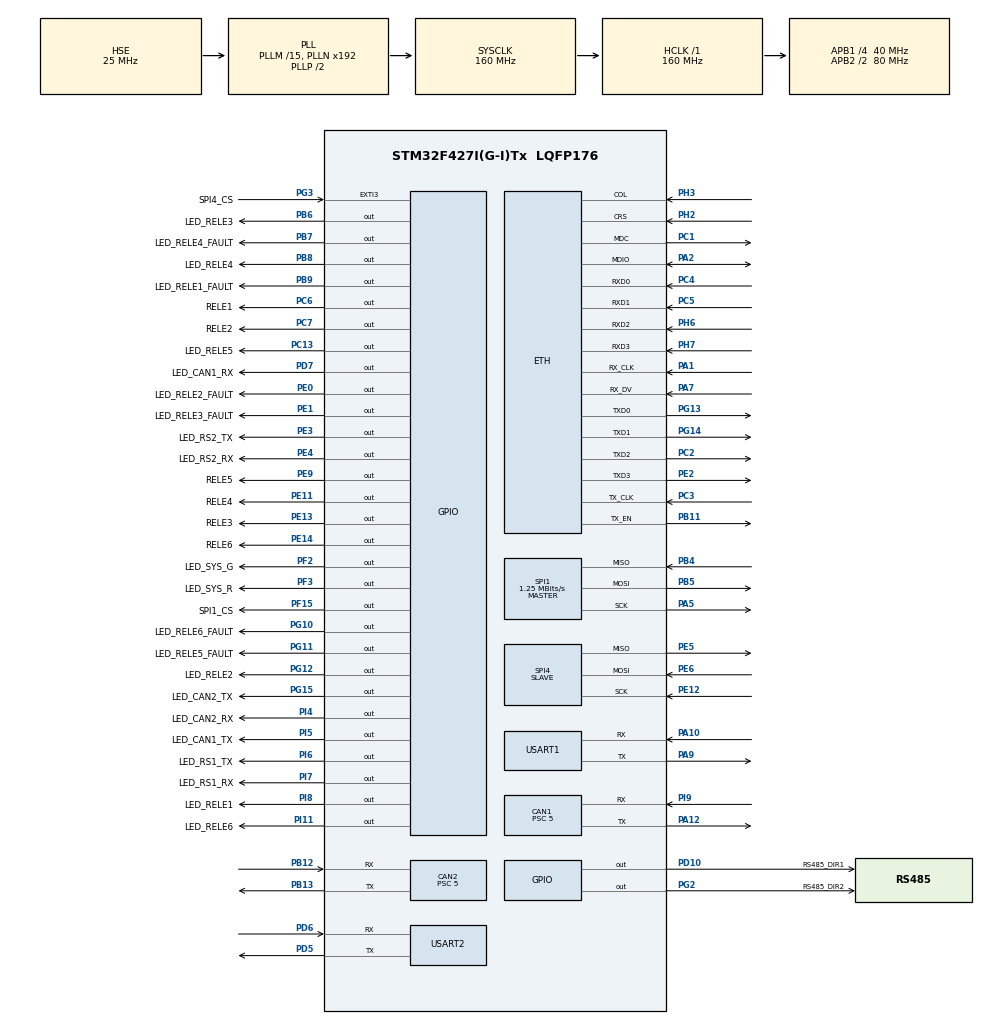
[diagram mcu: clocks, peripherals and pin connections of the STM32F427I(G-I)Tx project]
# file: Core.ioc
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CAN1.BS1=CAN_BS1_13TQ
CAN1.BS2=CAN_BS2_2TQ
CAN1.CalculateTimeQuantum=125.0
CAN1.Prescaler=5
CAN1.TXFP=ENABLE
CAN2.BS1=CAN_BS1_13TQ
CAN2.BS2=CAN_BS2_2TQ
CAN2.CalculateTimeQuantum=125.0
CAN2.Prescaler=5
CAN2.TXFP=ENABLE
Dma.Request0=USART1_TX
Dma.Request1=USART2_TX
Dma.Request2=SPI1_TX
Dma.Request3=SPI1_RX
Dma.SPI1_RX.3.Direction=DMA_PERIPH_TO_MEMORY
Dma.SPI1_RX.3.FIFOMode=DMA_FIFOMODE_DISABLE
Dma.SPI1_RX.3.Instance=DMA2_Stream0
Dma.SPI1_RX.3.MemDataAlignment=DMA_MDATAALIGN_BYTE
Dma.SPI1_RX.3.MemInc=DMA_MINC_ENABLE
Dma.SPI1_RX.3.Mode=DMA_NORMAL
Dma.SPI1_RX.3.PeriphDataAlignment=DMA_PDATAALIGN_BYTE
Dma.SPI1_RX.3.PeriphInc=DMA_PINC_DISABLE
Dma.SPI1_RX.3.Priority=DMA_PRIORITY_MEDIUM
Dma.SPI1_TX.2.Direction=DMA_MEMORY_TO_PERIPH
Dma.SPI1_TX.2.FIFOMode=DMA_FIFOMODE_DISABLE
Dma.SPI1_TX.2.Instance=DMA2_Stream3
Dma.SPI1_TX.2.MemDataAlignment=DMA_MDATAALIGN_BYTE
Dma.SPI1_TX.2.MemInc=DMA_MINC_ENABLE
Dma.SPI1_TX.2.Mode=DMA_NORMAL
Dma.SPI1_TX.2.PeriphDataAlignment=DMA_PDATAALIGN_BYTE
Dma.SPI1_TX.2.PeriphInc=DMA_PINC_DISABLE
Dma.SPI1_TX.2.Priority=DMA_PRIORITY_MEDIUM
Dma.USART1_TX.0.Direction=DMA_MEMORY_TO_PERIPH
Dma.USART1_TX.0.FIFOMode=DMA_FIFOMODE_DISABLE
Dma.USART1_TX.0.Instance=DMA2_Stream7
Dma.USART1_TX.0.MemDataAlignment=DMA_MDATAALIGN_BYTE
Dma.USART1_TX.0.MemInc=DMA_MINC_ENABLE
Dma.USART1_TX.0.Mode=DMA_NORMAL
Dma.USART1_TX.0.PeriphDataAlignment=DMA_PDATAALIGN_BYTE
Dma.USART1_TX.0.PeriphInc=DMA_PINC_DISABLE
Dma.USART1_TX.0.Priority=DMA_PRIORITY_MEDIUM
Dma.USART2_TX.1.Direction=DMA_MEMORY_TO_PERIPH
Dma.USART2_TX.1.FIFOMode=DMA_FIFOMODE_DISABLE
Dma.USART2_TX.1.Instance=DMA1_Stream6
Dma.USART2_TX.1.MemDataAlignment=DMA_MDATAALIGN_BYTE
Dma.USART2_TX.1.MemInc=DMA_MINC_ENABLE
Dma.USART2_TX.1.Mode=DMA_NORMAL
Dma.USART2_TX.1.PeriphDataAlignment=DMA_PDATAALIGN_BYTE
Dma.USART2_TX.1.PeriphInc=DMA_PINC_DISABLE
Dma.USART2_TX.1.Priority=DMA_PRIORITY_MEDIUM
ETH.MediaInterface=ETH_MEDIA_INTERFACE_MII
FREERTOS.Tasks01=defaultTask,0,128,StartDefaultTask,Default,NULL,Dynamic,NULL,NULL;progTask,-1,128,ProgTask,Default,NULL,Dynamic,NULL,NULL
FREERTOS.configTOTAL_HEAP_SIZE=32000
IWDG.Prescaler=IWDG_PRESCALER_64
LWIP.GATEWAY_ADDRESS=192.168.005.001
LWIP.IP_ADDRESS=192.168.005.002
LWIP.LWIP_DHCP=0
LWIP.NETMASK_ADDRESS=255.255.255.000
LWIP.Version=v2.1.2_Cube
Mcu.Family=STM32F4
Mcu.Name=STM32F427I(G-I)Tx
Mcu.Package=LQFP176
NVIC.CAN1_RX0_IRQn=true\:5\:0\:false\:false\:true\:true\:true\:true
NVIC.CAN2_RX0_IRQn=true\:5\:0\:false\:false\:true\:true\:true\:true
NVIC.DMA1_Stream6_IRQn=true\:5\:0\:false\:false\:true\:true\:false\:true
NVIC.DMA2_Stream0_IRQn=true\:5\:0\:false\:false\:true\:true\:false\:true
NVIC.DMA2_Stream3_IRQn=true\:5\:0\:false\:false\:true\:true\:false\:true
NVIC.DMA2_Stream7_IRQn=true\:5\:0\:false\:false\:true\:true\:false\:true
NVIC.ETH_IRQn=true\:5\:0\:false\:false\:true\:true\:false\:true
NVIC.EXTI3_IRQn=true\:0\:0\:false\:false\:true\:false\:true\:true
NVIC.PriorityGroup=NVIC_PRIORITYGROUP_4
NVIC.SPI4_IRQn=true\:0\:0\:false\:false\:true\:true\:true\:true
NVIC.TIM1_UP_TIM10_IRQn=true\:0\:0\:false\:false\:true\:false\:false\:true
NVIC.TimeBase=TIM1_UP_TIM10_IRQn
NVIC.TimeBaseIP=TIM1
NVIC.USART1_IRQn=true\:5\:0\:false\:false\:true\:true\:true\:true
NVIC.USART2_IRQn=true\:5\:0\:false\:false\:true\:true\:true\:true
PA1.Mode=MII
PA1.Signal=ETH_RX_CLK
PA10.Mode=Asynchronous
PA10.Signal=USART1_RX
PA12.Mode=Master
PA12.Signal=CAN1_TX
PA2.Mode=MII
PA2.Signal=ETH_MDIO
PA5.Mode=Full_Duplex_Master
PA5.Signal=SPI1_SCK
PA7.Mode=MII
PA7.Signal=ETH_RX_DV
PA9.Mode=Asynchronous
PA9.Signal=USART1_TX
PB11.Mode=MII
PB11.Signal=ETH_TX_EN
PB12.Mode=Slave
PB12.Signal=CAN2_RX
PB13.Mode=Slave
PB13.Signal=CAN2_TX
PB4.Mode=Full_Duplex_Master
PB4.Signal=SPI1_MISO
PB5.Mode=Full_Duplex_Master
PB5.Signal=SPI1_MOSI
PB6.GPIO_Label=LED_RELE3
PB6.Signal=GPIO_Output
PB7.GPIO_Label=LED_RELE4_FAULT
PB7.Signal=GPIO_Output
PB8.GPIO_Label=LED_RELE4
PB8.Signal=GPIO_Output
PB9.GPIO_Label=LED_RELE1_FAULT
PB9.Signal=GPIO_Output
PC1.Mode=MII
PC1.Signal=ETH_MDC
PC13.GPIO_Label=LED_RELE5
PC13.Signal=GPIO_Output
PC14/OSC32_IN.Mode=LSE-External-Oscillator
PC14/OSC32_IN.Signal=RCC_OSC32_IN
PC15/OSC32_OUT.Mode=LSE-External-Oscillator
PC15/OSC32_OUT.Signal=RCC_OSC32_OUT
PC2.Mode=MII
PC2.Signal=ETH_TXD2
PC3.Mode=MII
PC3.Signal=ETH_TX_CLK
PC4.Mode=MII
PC4.Signal=ETH_RXD0
PC5.Mode=MII
PC5.Signal=ETH_RXD1
PC6.GPIO_Label=RELE1
PC6.Signal=GPIO_Output
PC7.GPIO_Label=RELE2
PC7.Signal=GPIO_Output
PD10.GPIO_Label=RS485_DIR1
PD10.Signal=GPIO_Output
PD5.Mode=Asynchronous
PD5.Signal=USART2_TX
PD6.Mode=Asynchronous
PD6.Signal=USART2_RX
PD7.GPIO_Label=LED_CAN1_RX
PD7.Signal=GPIO_Output
PE0.GPIO_Label=LED_RELE2_FAULT
PE0.Signal=GPIO_Output
PE1.GPIO_Label=LED_RELE3_FAULT
PE1.Signal=GPIO_Output
PE11.GPIO_Label=RELE4
PE11.Signal=GPIO_Output
PE12.Mode=Full_Duplex_Slave
PE12.Signal=SPI4_SCK
PE13.GPIO_Label=RELE3
PE13.Signal=GPIO_Output
PE14.GPIO_Label=RELE6
PE14.Signal=GPIO_Output
PE2.Mode=MII
PE2.Signal=ETH_TXD3
PE3.GPIO_Label=LED_RS2_TX
PE3.Signal=GPIO_Output
PE4.GPIO_Label=LED_RS2_RX
PE4.Signal=GPIO_Output
PE5.Mode=Full_Duplex_Slave
PE5.Signal=SPI4_MISO
PE6.Mode=Full_Duplex_Slave
PE6.Signal=SPI4_MOSI
PE9.GPIO_Label=RELE5
PE9.Signal=GPIO_Output
PF15.GPIO_Label=SPI1_CS
PF15.Signal=GPIO_Output
PF2.GPIO_Label=LED_SYS_G
PF2.Signal=GPIO_Output
PF3.GPIO_Label=LED_SYS_R
PF3.Signal=GPIO_Output
PG10.GPIO_Label=LED_RELE6_FAULT
PG10.Signal=GPIO_Output
PG11.GPIO_Label=LED_RELE5_FAULT
PG11.Signal=GPIO_Output
PG12.GPIO_Label=LED_RELE2
PG12.Signal=GPIO_Output
PG13.Mode=MII
PG13.Signal=ETH_TXD0
PG14.Mode=MII
PG14.Signal=ETH_TXD1
PG15.GPIO_Label=LED_CAN2_TX
PG15.Signal=GPIO_Output
PG2.GPIO_Label=RS485_DIR2
PG2.Signal=GPIO_Output
PG3.GPIO_Label=SPI4_CS
PG3.GPIO_ModeDefaultEXTI=GPIO_MODE_IT_RISING_FALLING
PG3.GPIO_PuPd=GPIO_PULLUP
PG3.Signal=GPXTI3
PH0/OSC_IN.Mode=HSE-External-Oscillator
PH0/OSC_IN.Signal=RCC_OSC_IN
PH1/OSC_OUT.Mode=HSE-External-Oscillator
PH1/OSC_OUT.Signal=RCC_OSC_OUT
PH2.Mode=MII
PH2.Signal=ETH_CRS
PH3.Mode=MII
PH3.Signal=ETH_COL
PH6.Mode=MII
PH6.Signal=ETH_RXD2
PH7.Mode=MII
PH7.Signal=ETH_RXD3
PI11.GPIO_Label=LED_RELE6
PI11.Signal=GPIO_Output
PI4.GPIO_Label=LED_CAN2_RX
PI4.Signal=GPIO_Output
PI5.GPIO_Label=LED_CAN1_TX
PI5.Signal=GPIO_Output
PI6.GPIO_Label=LED_RS1_TX
PI6.Signal=GPIO_Output
PI7.GPIO_Label=LED_RS1_RX
PI7.Signal=GPIO_Output
PI8.GPIO_Label=LED_RELE1
PI8.Signal=GPIO_Output
PI9.Mode=Master
PI9.Signal=CAN1_RX
ProjectManager.HeapSize=0x2000
ProjectManager.StackSize=0x4000
ProjectManager.TargetToolchain=TrueSTUDIO
RCC.48MHZClocksFreq_Value=80000000
RCC.AHBFreq_Value=160000000
RCC.APB1CLKDivider=RCC_HCLK_DIV4
RCC.APB1Freq_Value=40000000
RCC.APB1TimFreq_Value=80000000
RCC.APB2CLKDivider=RCC_HCLK_DIV2
RCC.APB2Freq_Value=80000000
RCC.APB2TimFreq_Value=160000000
RCC.CortexFreq_Value=160000000
RCC.HCLKFreq_Value=160000000
RCC.HSE_VALUE=25000000
RCC.HSI_VALUE=16000000
RCC.PLLM=15
RCC.PLLSourceVirtual=RCC_PLLSOURCE_HSE
RCC.RCC_RTC_Clock_Source=RCC_RTCCLKSOURCE_LSE
RCC.RCC_RTC_Clock_SourceVirtual=RCC_RTCCLKSOURCE_LSE
RCC.SYSCLKFreq_VALUE=160000000
RCC.SYSCLKSource=RCC_SYSCLKSOURCE_PLLCLK
RCC.VCOOutputFreq_Value=320000000
SPI1.BaudRatePrescaler=SPI_BAUDRATEPRESCALER_64
SPI1.CalculateBaudRate=1.25 MBits/s
SPI1.Direction=SPI_DIRECTION_2LINES
SPI1.Mode=SPI_MODE_MASTER
SPI1.VirtualType=VM_MASTER
SPI4.CLKPhase=SPI_PHASE_2EDGE
SPI4.CLKPolarity=SPI_POLARITY_HIGH
SPI4.Direction=SPI_DIRECTION_2LINES
SPI4.Mode=SPI_MODE_SLAVE
SPI4.VirtualType=VM_SLAVE
USART1.Parity=PARITY_EVEN
USART1.VirtualMode=VM_ASYNC
USART1.WordLength=WORDLENGTH_9B
USART2.Parity=PARITY_EVEN
USART2.VirtualMode=VM_ASYNC
USART2.WordLength=WORDLENGTH_9B
VP_FREERTOS_VS_CMSIS_V1.Mode=CMSIS_V1
VP_IWDG_VS_IWDG.Mode=IWDG_Activate
VP_LWIP_VS_Enabled.Mode=Enabled
VP_RTC_VS_RTC_Activate.Mode=RTC_Enabled
VP_SYS_VS_tim1.Mode=TIM1
board=custom

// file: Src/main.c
/* USER CODE BEGIN Header */
/**
  ******************************************************************************
  * @file           : main.c
  * @brief          : Main program body
  ******************************************************************************
  * @attention
  *
  * <h2><center>&copy; Copyright (c) 2019 STMicroelectronics.
  * All rights reserved.</center></h2>
  *
  * This software component is licensed by ST under Ultimate Liberty license
  * SLA0044, the "License"; You may not use this file except in compliance with
  * the License. You may obtain a copy of the License at:
  *                             www.st.com/SLA0044
  *
  ******************************************************************************
  */
/* USER CODE END Header */
#include "main.h"
#include "cmsis_os.h"
#include "can.h"
#include "dma.h"
#include "iwdg.h"
#include "lwip.h"
#include "rtc.h"
#include "spi.h"
#include "usart.h"
#include "gpio.h"

/* USER CODE BEGIN Includes */

#include "os_conf.h"
#include "eeprom.h"
#include "can_tx_stack.h"
#include "can_task.h"

/* USER CODE END Includes */

/* USER CODE BEGIN PD */

#define	EEPROM_KEY_VALUE	0x3235
#define	CONFIG_KEY_VALUE	0x1215

#define JD0 2451545 // ���� �� 01 ��� 2000 ��

/* USER CODE END PD */

/* USER CODE BEGIN PV */

extern uint16_t rx1_cnt;
extern uint16_t rx1_tmr;
extern uint8_t dir1_tmr;

extern uint16_t rx2_cnt;
extern uint16_t rx2_tmr;
extern uint8_t dir2_tmr;

extern unsigned short tmrms[TMRMS_CNT];
extern unsigned short tmrs[TMRS_CNT];
unsigned short sys_tmr=0;

uint16_t VirtAddVarTab[NB_OF_VAR]={1,2,3,4,5,6,7,8,9,10,11,12,13,14,15,16};
static uint16_t ee_key = 0;

extern uint8_t net_address;
uint8_t ip_addr[4] = {192,168,1,2};
uint8_t ip_mask[4] = {255,255,255,0};
uint8_t ip_gate[4] = {192,168,1,1};
uint16_t rs485_conf1 = 0x1002;
uint16_t rs485_conf2 = 0x1002;

uint8_t baudrate1=2;
uint8_t stop_bits1=1;
uint8_t parity1=0;
uint8_t baud_dir1 = 3;

uint8_t baudrate2=2;
uint8_t stop_bits2=1;
uint8_t parity2=0;
uint8_t baud_dir2 = 3;

extern uint16_t ai_type;
tx_stack can1_tx_stack;
tx_stack can2_tx_stack;

extern volatile uint8_t can1_tx_tmr;

RTC_TimeTypeDef sTime = {0};
RTC_DateTypeDef sDate = {0};

typedef struct{
	unsigned short year;
	unsigned char month;
	unsigned char day;
	unsigned char hour;
	unsigned char minute;
	unsigned char second;
} ftime_t;

static ftime_t sdt1;

/* USER CODE END PV */

void SystemClock_Config(void);
void MX_FREERTOS_Init(void);

/* USER CODE BEGIN 0 */

void updateCurrentTime(unsigned long counter) {

	uint32_t ace;
	uint8_t b;
	uint8_t d;
	uint8_t m;

	ace=(counter/86400)+32044+JD0;
	b=(4*ace+3)/146097;
	ace=ace-((146097*b)/4);
	d=(4*ace+3)/1461;
	ace=ace-((1461*d)/4);
	m=(5*ace+2)/153;

	portDISABLE_INTERRUPTS();

	sdt1.day=ace-((153*m+2)/5)+1;
	sdt1.month=m+3-(12*(m/10));
	sdt1.year=100*b+d-4800+(m/10);
	sdt1.hour=(counter/3600)%24;
	sdt1.minute=(counter/60)%60;
	sdt1.second=(counter%60);

	sTime.Seconds = sdt1.second;
	sTime.Minutes = sdt1.minute;
	sTime.Hours = sdt1.hour;
	sDate.Date = sdt1.day;
	sDate.Month = sdt1.month;
	if(sdt1.year>=2000) sDate.Year = sdt1.year - 2000;else sDate.Year = 0;
	HAL_RTC_SetTime(&hrtc, &sTime, RTC_FORMAT_BIN);
	HAL_RTC_SetDate(&hrtc, &sDate, RTC_FORMAT_BIN);

	portENABLE_INTERRUPTS();
}

/* USER CODE END 0 */

int main(void)
{

  /* MCU Configuration--------------------------------------------------------*/

  /* Reset of all peripherals, Initializes the Flash interface and the Systick. */
  HAL_Init();

  /* Configure the system clock */
  SystemClock_Config();

  /* USER CODE BEGIN SysInit */

  HAL_FLASH_Unlock();
  EE_Init();

  EE_ReadVariable(VirtAddVarTab[0],  &ee_key);
  if(ee_key==EEPROM_KEY_VALUE) {
	  EE_ReadVariable(VirtAddVarTab[1],  &ee_key);
	  if(ee_key!=2) EE_WriteVariable(VirtAddVarTab[1],2);
  }
  EE_ReadVariable(VirtAddVarTab[15],  &ee_key);
  if(ee_key!=CONFIG_KEY_VALUE) {
	  EE_WriteVariable(VirtAddVarTab[0],EEPROM_KEY_VALUE);
	  EE_WriteVariable(VirtAddVarTab[2],1);			// net address
	  EE_WriteVariable(VirtAddVarTab[3],0xC0A8);	// IP address
	  EE_WriteVariable(VirtAddVarTab[4],0x0102);
	  EE_WriteVariable(VirtAddVarTab[5],0xFFFF);	// IP mask
	  EE_WriteVariable(VirtAddVarTab[6],0xFF00);
	  EE_WriteVariable(VirtAddVarTab[7],0xC0A8);	// IP gate
	  EE_WriteVariable(VirtAddVarTab[8],0x0101);
	  EE_WriteVariable(VirtAddVarTab[9],0xFFFF);	// ai_type
	  EE_WriteVariable(VirtAddVarTab[10],0x1002);	// rs485_conf1
	  EE_WriteVariable(VirtAddVarTab[11],0x1002);	// rs485_conf2
	  EE_WriteVariable(VirtAddVarTab[15],CONFIG_KEY_VALUE);
  }

  EE_ReadVariable(VirtAddVarTab[2],  &ee_key);
  net_address = ee_key&0xFF;
  EE_ReadVariable(VirtAddVarTab[3],  &ee_key);
  ip_addr[0] = ee_key>>8;
  ip_addr[1] = ee_key&0xFF;
  EE_ReadVariable(VirtAddVarTab[4],  &ee_key);
  ip_addr[2] = ee_key>>8;
  ip_addr[3] = ee_key&0xFF;
  EE_ReadVariable(VirtAddVarTab[5],  &ee_key);
  ip_mask[0] = ee_key>>8;
  ip_mask[1] = ee_key&0xFF;
  EE_ReadVariable(VirtAddVarTab[6],  &ee_key);
  ip_mask[2] = ee_key>>8;
  ip_mask[3] = ee_key&0xFF;
  EE_ReadVariable(VirtAddVarTab[7],  &ee_key);
  ip_gate[0] = ee_key>>8;
  ip_gate[1] = ee_key&0xFF;
  EE_ReadVariable(VirtAddVarTab[8],  &ee_key);
  ip_gate[2] = ee_key>>8;
  ip_gate[3] = ee_key&0xFF;
  EE_ReadVariable(VirtAddVarTab[9],  &ai_type);
  EE_ReadVariable(VirtAddVarTab[10],  &rs485_conf1);
  EE_ReadVariable(VirtAddVarTab[11],  &rs485_conf2);

  baudrate1 = rs485_conf1 & 0xFF;
  baudrate2 = rs485_conf2 & 0xFF;
  parity1 = rs485_conf1 >> 12;
  parity2 = rs485_conf2 >> 12;
  stop_bits1 = (rs485_conf1 >> 8) & 0x0F;
  stop_bits2 = (rs485_conf2 >> 8) & 0x0F;

  switch(baudrate1) {
	case 0:baud_dir1 = 10;break;
	case 1:baud_dir1 = 6;break;
	case 2:baud_dir1 = 3;break;
	case 3:baud_dir1 = 2;break;
	case 4:baud_dir1 = 2;break;
	case 5:baud_dir1 = 2;break;
	case 6:baud_dir1 = 2;break;
  }

  switch(baudrate2) {
  	case 0:baud_dir2 = 10;break;
  	case 1:baud_dir2 = 6;break;
  	case 2:baud_dir2 = 3;break;
  	case 3:baud_dir2 = 2;break;
  	case 4:baud_dir2 = 2;break;
  	case 5:baud_dir2 = 2;break;
  	case 6:baud_dir2 = 2;break;
  }

  /* USER CODE END SysInit */

  /* Initialize all configured peripherals */
  MX_GPIO_Init();
  MX_USART1_UART_Init();
  MX_USART2_UART_Init();
  MX_DMA_Init();
  //MX_IWDG_Init();
  MX_RTC_Init();
  MX_SPI1_Init();
  MX_CAN1_Init();
  MX_CAN2_Init();
  MX_SPI4_Init();
  /* USER CODE BEGIN 2 */

  LL_DMA_EnableIT_TC(DMA1, LL_DMA_STREAM_6);
  LL_DMA_EnableIT_TE(DMA1, LL_DMA_STREAM_6);
  LL_USART_EnableIT_RXNE(USART2);
  LL_DMA_EnableIT_TC(DMA2, LL_DMA_STREAM_7);
  LL_DMA_EnableIT_TE(DMA2, LL_DMA_STREAM_7);
  LL_USART_EnableIT_RXNE(USART1);

  LL_USART_Enable(USART1);
  LL_USART_Enable(USART2);

  LL_SPI_Enable(SPI4);
  LL_SPI_EnableIT_RXNE(SPI4);
  LL_SPI_EnableIT_TXE(SPI4);

  HAL_RTC_GetTime(&hrtc, &sTime, RTC_FORMAT_BIN);
  HAL_RTC_GetDate(&hrtc, &sDate, RTC_FORMAT_BIN);

  HAL_PWR_EnableBkUpAccess();
  __BKPSRAM_CLK_ENABLE();
  HAL_PWR_EnableBkUpReg();

  volatile uint16_t errorindex = 0;

  volatile uint32_t sram_buf[512]={0};

  // Write to Backup SRAM with 32-Bit Data
	/*for (uint16_t i = 0; i < 256; i += 4) {
		*(__IO uint32_t *) (BKPSRAM_BASE + i) = i;
	}*/

	// Check the written Data
	for (uint16_t i = 0; i < 256; i += 4) {
		sram_buf[i] = *(__IO uint32_t *) (BKPSRAM_BASE + i);
		if (sram_buf[i] != i){
			errorindex++;
		}
	}

	init_can_tx_stack(&can1_tx_stack);

  /* USER CODE END 2 */

  /* Call init function for freertos objects (in freertos.c) */
  MX_FREERTOS_Init();
  /* Start scheduler */
  osKernelStart();

  /* We should never get here as control is now taken by the scheduler */
  /* Infinite loop */
  while (1)
  {

  }
}

void SystemClock_Config(void)
{
  RCC_OscInitTypeDef RCC_OscInitStruct = {0};
  RCC_ClkInitTypeDef RCC_ClkInitStruct = {0};
  RCC_PeriphCLKInitTypeDef PeriphClkInitStruct = {0};

  /** Configure the main internal regulator output voltage
  */
  __HAL_RCC_PWR_CLK_ENABLE();
  __HAL_PWR_VOLTAGESCALING_CONFIG(PWR_REGULATOR_VOLTAGE_SCALE1);
  /** Initializes the RCC Oscillators according to the specified parameters
  * in the RCC_OscInitTypeDef structure.
  */
  RCC_OscInitStruct.OscillatorType = RCC_OSCILLATORTYPE_LSI|RCC_OSCILLATORTYPE_HSE
                              |RCC_OSCILLATORTYPE_LSE;
  RCC_OscInitStruct.HSEState = RCC_HSE_ON;
  RCC_OscInitStruct.LSEState = RCC_LSE_ON;
  RCC_OscInitStruct.LSIState = RCC_LSI_ON;
  RCC_OscInitStruct.PLL.PLLState = RCC_PLL_ON;
  RCC_OscInitStruct.PLL.PLLSource = RCC_PLLSOURCE_HSE;
  RCC_OscInitStruct.PLL.PLLM = 15;
  RCC_OscInitStruct.PLL.PLLN = 192;
  RCC_OscInitStruct.PLL.PLLP = RCC_PLLP_DIV2;
  RCC_OscInitStruct.PLL.PLLQ = 4;
  if (HAL_RCC_OscConfig(&RCC_OscInitStruct) != HAL_OK)
  {
    Error_Handler();
  }
  /** Initializes the CPU, AHB and APB buses clocks
  */
  RCC_ClkInitStruct.ClockType = RCC_CLOCKTYPE_HCLK|RCC_CLOCKTYPE_SYSCLK
                              |RCC_CLOCKTYPE_PCLK1|RCC_CLOCKTYPE_PCLK2;
  RCC_ClkInitStruct.SYSCLKSource = RCC_SYSCLKSOURCE_PLLCLK;
  RCC_ClkInitStruct.AHBCLKDivider = RCC_SYSCLK_DIV1;
  RCC_ClkInitStruct.APB1CLKDivider = RCC_HCLK_DIV4;
  RCC_ClkInitStruct.APB2CLKDivider = RCC_HCLK_DIV2;

  if (HAL_RCC_ClockConfig(&RCC_ClkInitStruct, FLASH_LATENCY_5) != HAL_OK)
  {
    Error_Handler();
  }
  PeriphClkInitStruct.PeriphClockSelection = RCC_PERIPHCLK_RTC;
  PeriphClkInitStruct.RTCClockSelection = RCC_RTCCLKSOURCE_LSE;
  if (HAL_RCCEx_PeriphCLKConfig(&PeriphClkInitStruct) != HAL_OK)
  {
    Error_Handler();
  }
}

void HAL_TIM_PeriodElapsedCallback(TIM_HandleTypeDef *htim)
{
  /* USER CODE BEGIN Callback 0 */

	static uint16_t tmp = 0;

	if(can1_tx_tmr <= CAN_TX_TMR_GAP) can1_tx_tmr++;

	if(rx1_cnt) {rx1_tmr++;}else rx1_tmr=0;
//	  if(dir1_tmr) {
//		dir1_tmr--;
//		if(dir1_tmr==0) {
//			HAL_GPIO_WritePin(RS485_DIR1_GPIO_Port,RS485_DIR1_Pin,GPIO_PIN_RESET);
//			LL_USART_EnableIT_RXNE(USART1);
//		}
//	  }

	  if(rx2_cnt) {rx2_tmr++;}else rx2_tmr=0;
//	  if(dir2_tmr) {
//		  dir2_tmr--;
//		  if(dir2_tmr==0) {
//			  HAL_GPIO_WritePin(RS485_DIR2_GPIO_Port,RS485_DIR2_Pin,GPIO_PIN_RESET);
//			  LL_USART_EnableIT_RXNE(USART2);
//		  }
//	  }

	  sys_tmr++;
	  for(tmp=0;tmp<TMRMS_CNT;tmp++) tmrms[tmp]++;
	  if(sys_tmr>=1000) {
		  sys_tmr = 0;
		  for(tmp=0;tmp<TMRS_CNT;tmp++) tmrs[tmp]++;
	  }

  /* USER CODE END Callback 0 */
  if (htim->Instance == TIM1) {
    HAL_IncTick();
  }
}

void Error_Handler(void)
{
}

/************************ (C) COPYRIGHT STMicroelectronics *****END OF FILE****/

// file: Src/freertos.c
/* USER CODE BEGIN Header */
/**
  ******************************************************************************
  * File Name          : freertos.c
  * Description        : Code for freertos applications
  ******************************************************************************
  * @attention
  *
  * <h2><center>&copy; Copyright (c) 2019 STMicroelectronics.
  * All rights reserved.</center></h2>
  *
  * This software component is licensed by ST under Ultimate Liberty license
  * SLA0044, the "License"; You may not use this file except in compliance with
  * the License. You may obtain a copy of the License at:
  *                             www.st.com/SLA0044
  *
  ******************************************************************************
  */
/* USER CODE END Header */

#include "FreeRTOS.h"
#include "task.h"
#include "main.h"
#include "cmsis_os.h"

/* USER CODE BEGIN Includes */

#include "ld_prog.h"
#include "os_conf.h"
#include "rs485.h"
#include "iwdg.h"
#include "crc.h"
#include "din.h"
#include "dout.h"
#include "ain.h"
#include "udp_server.h"
#include "modbus_master.h"
#include "can_task.h"
#include "system_vars.h"
#include "scada.h"
#include "leds.h"
#include "modules.h"
#include "do_module.h"
#include "eeprom.h"

/* USER CODE END Includes */

/* USER CODE BEGIN Variables */

extern unsigned short sys_tmr;
unsigned short work_time = 1;
extern volatile unsigned short plc_cycle;
extern unsigned short ain[AI_CNT];
extern unsigned short ain_raw[AI_CNT];
extern unsigned char ain_alarm[AI_CNT];

unsigned short prev_ain[AI_CNT] = {0};
unsigned char prev_ain_alarm[AI_CNT] = {0};
extern uint16_t update_ai;
extern uint16_t used_ai;

extern uint8_t start_up;

uint16_t ai_type = 0xFFFF;

uint8_t adc_spi_tx[32];
uint8_t adc_spi_rx[32];
uint32_t adc_sum[14];

unsigned char scada_bits[16];
unsigned short scada_regs[16];

extern unsigned short ireg[IREG_CNT];
extern SPI_HandleTypeDef hspi1;
osThreadId canTaskHandle;

extern struct led_state sys_led_green;

uint8_t loader_flag = 0;
extern uint16_t  VirtAddVarTab[NB_OF_VAR];

extern uint8_t adc_link;

extern RTC_TimeTypeDef sTime;
extern RTC_DateTypeDef sDate;
extern RTC_HandleTypeDef hrtc;

/* USER CODE END Variables */
osThreadId defaultTaskHandle;
osThreadId progTaskHandle;

/* USER CODE BEGIN FunctionPrototypes */

extern void tcp_server_init(void);
extern void calculate_adc();
extern void update_ethip_intern_regs();
extern void update_ethip_intern_bits();
extern void update_ethip_scada_bits();
extern void update_ethip_scada_regs();

__weak void init_vars() {};

static void update_data_to_scada() {
	static uint8_t scada_tmr = 0;
	scada_tmr++;
	switch(scada_tmr) {
		case 10:net_bits_to_scada_first();break;
		case 20:net_bits_to_scada_second();break;
		case 30:net_regs_to_scada_first();break;
		case 40:net_regs_to_scada_second();break;
		case 50:
		  //update_ethip_intern_regs();
		  cluster_regs_to_scada();
		  break;
		case 60:
		  //update_ethip_intern_bits();
		  cluster_bits_to_scada(0);
		  break;
		case 62:cluster_bits_to_scada(1);break;
		case 64:cluster_bits_to_scada(2);break;
		case 66:cluster_bits_to_scada(3);break;

		case 70:update_ethip_scada_bits();break;
		case 80:update_ethip_scada_regs();break;
		case 90:node_and_cluster_state_to_scada();break;
	}
	if(scada_tmr>=100) scada_tmr = 0;
}

/* USER CODE END FunctionPrototypes */

void StartDefaultTask(void const * argument);
void ProgTask(void const * argument);

extern void MX_LWIP_Init(void);
void MX_FREERTOS_Init(void); /* (MISRA C 2004 rule 8.1) */

/* GetIdleTaskMemory prototype (linked to static allocation support) */
void vApplicationGetIdleTaskMemory( StaticTask_t **ppxIdleTaskTCBBuffer, StackType_t **ppxIdleTaskStackBuffer, uint32_t *pulIdleTaskStackSize );

/* USER CODE BEGIN GET_IDLE_TASK_MEMORY */
static StaticTask_t xIdleTaskTCBBuffer;
static StackType_t xIdleStack[configMINIMAL_STACK_SIZE];

void vApplicationGetIdleTaskMemory( StaticTask_t **ppxIdleTaskTCBBuffer, StackType_t **ppxIdleTaskStackBuffer, uint32_t *pulIdleTaskStackSize )
{
  *ppxIdleTaskTCBBuffer = &xIdleTaskTCBBuffer;
  *ppxIdleTaskStackBuffer = &xIdleStack[0];
  *pulIdleTaskStackSize = configMINIMAL_STACK_SIZE;
  /* place for user code */
}
/* USER CODE END GET_IDLE_TASK_MEMORY */

void MX_FREERTOS_Init(void) {
  /* USER CODE BEGIN Init */

	init_can_addr_pins();
	uint8_t can_check = read_can_addr();

  /* USER CODE END Init */

  /* Create the thread(s) */
  /* definition and creation of defaultTask */
  osThreadDef(defaultTask, StartDefaultTask, osPriorityNormal, 0, 1024);
  defaultTaskHandle = osThreadCreate(osThread(defaultTask), NULL);

  /* definition and creation of progTask */
  osThreadDef(progTask, ProgTask, osPriorityBelowNormal, 0, 1024);
  progTaskHandle = osThreadCreate(osThread(progTask), NULL);

  /* USER CODE BEGIN RTOS_THREADS */
  /* add threads, ... */

  osThreadDef(can, canTask, osPriorityNormal, 0, 512);
  canTaskHandle = osThreadCreate(osThread(can), NULL);

  /* USER CODE END RTOS_THREADS */

}

void StartDefaultTask(void const * argument)
{
  /* init code for LWIP */
  MX_LWIP_Init();
  /* USER CODE BEGIN StartDefaultTask */
  /* Infinite loop */
  init_leds();
  led_cycle(0);
  tcp_server_init();
  udp_server_init();
  static uint16_t led_tmr = 0;
  static uint16_t adc_spi_tmr = 0;
  static uint16_t crc = 0;
  static uint16_t i=0;
  static uint16_t value=0;
  static uint16_t filter_cnt = 0;
  static uint8_t ms_tmr = 0;
  static uint16_t sys_led_tmr = 0;
  static uint16_t sec_tmr = 0;

  init_din();
  init_leds();
  //osDelay(1000);
  start_up = 1;
  for(;;)
  {
	  led_tmr++;
	  sys_led_tmr++;
	  if(led_tmr>=10) {
		  led_tmr=0;
		  if(sys_led_tmr>=500) {
			  sys_led_tmr = 0;
			  sys_led_green.on_cmd = 1;
		  }
		  led_cycle(10);
	  }

	  sec_tmr++;
	  if(sec_tmr>=1000) {
		  sec_tmr=0;
		  HAL_RTC_GetTime(&hrtc, &sTime, RTC_FORMAT_BIN);
		  HAL_RTC_GetDate(&hrtc, &sDate, RTC_FORMAT_BIN);
	  }

	  update_data_to_scada();
	  ms_tmr++;
	  if(ms_tmr>=100) {
		  ms_tmr=0;
		  update_system_vars();
	  }

	  adc_spi_tmr++;
	  if(adc_spi_tmr==1) {
		  HAL_GPIO_WritePin(SPI1_CS_GPIO_Port,SPI1_CS_Pin,GPIO_PIN_RESET);
	  }else if(adc_spi_tmr==4) {
		  adc_spi_tx[0]=0x31;
		  adc_spi_tx[1]=0x31;
		  adc_spi_tx[2]=ai_type>>8;
		  adc_spi_tx[3]=ai_type&0xFF;
		  crc = GetCRC16(adc_spi_tx,30);
		  adc_spi_tx[30] = crc >> 8;
		  adc_spi_tx[31] = crc & 0xFF;
		  HAL_SPI_TransmitReceive_DMA(&hspi1, adc_spi_tx, adc_spi_rx, 32);
	  }else if(adc_spi_tmr==7) {
		  HAL_GPIO_WritePin(SPI1_CS_GPIO_Port,SPI1_CS_Pin,GPIO_PIN_SET);
		  crc = GetCRC16(adc_spi_rx,32);
		  if(crc==0) {
			  adc_link = 1;
			  for(i=0;i<AI_CNT;i++) {
				  value = (uint16_t)adc_spi_rx[2+i*2]<<8;
				  adc_spi_rx[2+i*2] = 0;
				  value|=adc_spi_rx[3+i*2];
				  adc_spi_rx[3+i*2] = 0;
				  adc_sum[i]+=value;
			  }
			  filter_cnt++;
			  if(filter_cnt==10) {
				  for(i=0;i<AI_CNT;i++) {
					  if(ai_type & ((uint16_t)1<<i)) {value = adc_sum[i]*50/62;}	// mA
					  else { value = adc_sum[i]/10; }	// mV
					  adc_sum[i] = 0;
					  ain_raw[i]=value;
				  }
				  filter_cnt = 0;
				  calculate_adc();
				  for(i=0;i<AI_CNT;i++) {
					  if(used_ai & (1<<i)) {
						  if((prev_ain[i] != ain[i]) || (prev_ain_alarm[i] != ain_alarm[i])) {
							  update_ai |= 1<<i;
							  prev_ain[i] = ain[i];
							  prev_ain_alarm[i] = ain_alarm[i];
						  }
					  }
				  }
				  update_ethip_ain();
			  }
		  }else adc_link = 0;
	  }
	  if(adc_spi_tmr>=10) {adc_spi_tmr=0;}

	  update_din();
	  uart1_scan();
	  uart2_scan();
	  modbus_master_process_canal1();
	  modbus_master_process_canal2();
	  do_mod_cycle();

	  if(loader_flag) {
		  loader_flag++;
		  if(loader_flag>=50) {
			  EE_WriteVariable(VirtAddVarTab[1],0);
			  //EE_ReadVariable(VirtAddVarTab[1],  &v);
			  NVIC_SystemReset();
		  }
	  }

	  osDelay(1);
  }
  /* USER CODE END StartDefaultTask */
}

void ProgTask(void const * argument)
{
  /* USER CODE BEGIN ProgTask */
  /* Infinite loop */

  static unsigned short work_tmr = 0;
  while(start_up==0) {osDelay(1);}
  osDelay(2000);
  init_vars();
  MX_IWDG_Init();
  for(;;)
  {
	  work_tmr = sys_tmr;
	  ld_process();
	  if(sys_tmr>=work_tmr) work_time = sys_tmr-work_tmr+1;
	  else work_time = 0xFFFF-work_tmr+sys_tmr;
	  inc_timers();
	  update_dout();
	  if(plc_cycle) osDelay(plc_cycle);
	  LL_IWDG_ReloadCounter(IWDG);
  }
  /* USER CODE END ProgTask */
}

/************************ (C) COPYRIGHT STMicroelectronics *****END OF FILE****/
